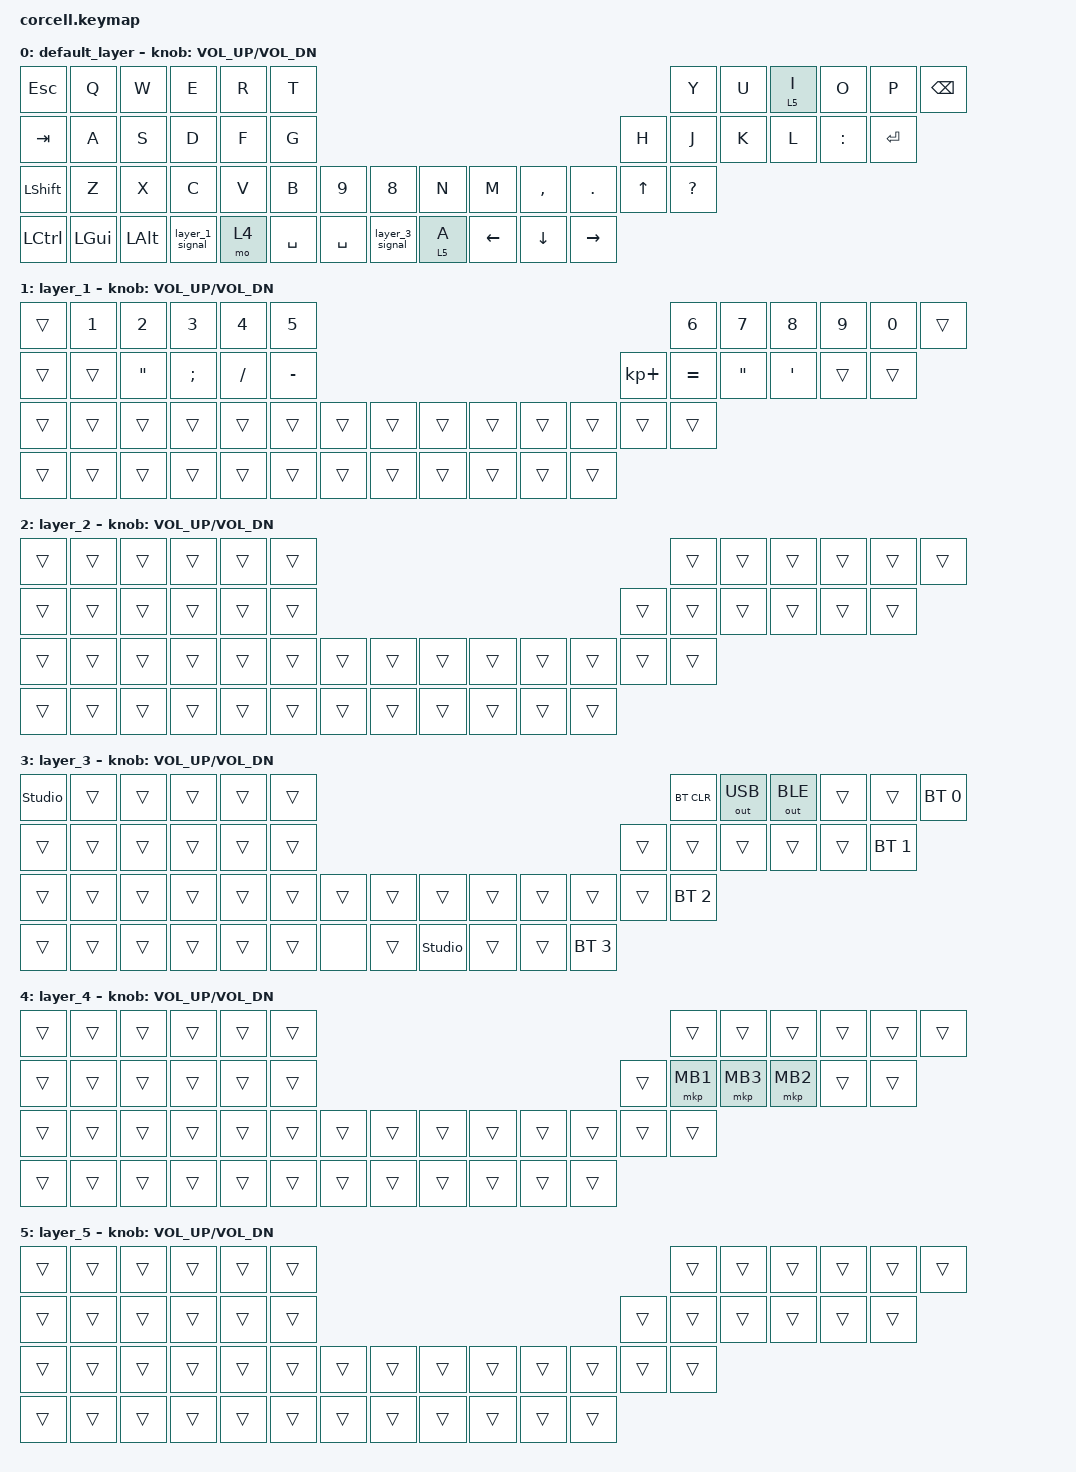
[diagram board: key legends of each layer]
#include <dt-bindings/zmk/mouse.h>
#include <behaviors.dtsi>
#include <dt-bindings/zmk/bt.h>
#include <dt-bindings/zmk/outputs.h>
#include <dt-bindings/zmk/keys.h>
#include <dt-bindings/zmk/pointing.h>
#include <behaviors/runtime-input-processor.dtsi>

/ {
    macros {
        // Keep layer activation momentary while exposing physical down/up to HID testers.
        layer_1_signal: layer_1_signal {
            compatible = "zmk,behavior-macro";
            #binding-cells = <0>;
            label = "Layer 1 + F16";
            wait-ms = <0>;
            tap-ms = <0>;
            bindings = <&macro_press &mo 1 &kp F16>,
                       <&macro_pause_for_release>,
                       <&macro_release &kp F16 &mo 1>;
        };

        // Keep layer activation momentary while exposing physical down/up to HID testers.
        layer_2_signal: layer_2_signal {
            compatible = "zmk,behavior-macro";
            #binding-cells = <0>;
            label = "Layer 2 + F17";
            wait-ms = <0>;
            tap-ms = <0>;
            bindings = <&macro_press &mo 2 &kp F17>,
                       <&macro_pause_for_release>,
                       <&macro_release &kp F17 &mo 2>;
        };

        // Keep layer activation momentary while exposing physical down/up to HID testers.
        layer_3_signal: layer_3_signal {
            compatible = "zmk,behavior-macro";
            #binding-cells = <0>;
            label = "Layer 3 + F18";
            wait-ms = <0>;
            tap-ms = <0>;
            bindings = <&macro_press &mo 3 &kp F18>,
                       <&macro_pause_for_release>,
                       <&macro_release &kp F18 &mo 3>;
        };

    };

    keymap {
        compatible = "zmk,keymap";

        default_layer {
            bindings = <
&kp ESC  &kp Q  &kp W  &kp E  &kp R  &kp T  &kp Y  &kp U  &lt 5 I  &kp O  &kp P  &kp BSPC
&kp TAB  &kp A  &kp S  &kp D  &kp F  &kp G  &kp H  &kp J  &kp K  &kp L  &kp COLON  &kp RET
&kp LSHFT  &kp Z  &kp X  &kp C  &kp V  &kp B  &kp N9  &kp N8  &kp N  &kp M  &kp COMMA  &kp DOT  &kp UP  &kp QMARK
&kp LCTRL  &kp LGUI  &kp LALT  &layer_1_signal  &mo 4  &kp SPACE  &kp SPACE  &layer_3_signal  &lt 5 A  &kp LEFT  &kp DOWN  &kp RIGHT
//&kp LCTRL  &kp LGUI  &kp LALT  &layer_1_signal  &layer_2_signal  &kp SPACE  &kp SPACE  &layer_3_signal  &lt 5 A  &kp LEFT  &kp DOWN  &kp RIGHT
            >;
            sensor-bindings = <&inc_dec_kp C_VOL_UP C_VOL_DN>;
        };

        layer_1 {
            bindings = <
&trans  &kp NUMBER_1  &kp NUMBER_2  &kp NUMBER_3  &kp NUMBER_4  &kp NUMBER_5  &kp NUMBER_6  &kp NUMBER_7  &kp N8  &kp NUMBER_9  &kp NUMBER_0  &trans
&trans  &trans  &kp DOUBLE_QUOTES  &kp SEMICOLON  &kp SLASH  &kp MINUS  &kp KP_PLUS  &kp EQUAL  &kp DOUBLE_QUOTES  &kp SQT  &trans  &trans
&trans  &trans  &trans  &trans  &trans  &trans  &trans  &trans  &trans  &trans  &trans  &trans  &trans  &trans
&trans  &trans  &trans  &trans  &trans  &trans  &trans  &trans  &trans  &trans  &trans  &trans
            >;
            sensor-bindings = <&inc_dec_kp C_VOL_UP C_VOL_DN>;
        };

        layer_2 {
            bindings = <
&trans  &trans  &trans  &trans  &trans  &trans  &trans  &trans  &trans  &trans  &trans  &trans
&trans  &trans  &trans  &trans  &trans  &trans  &trans  &trans  &trans  &trans  &trans  &trans
&trans  &trans  &trans  &trans  &trans  &trans  &trans  &trans  &trans  &trans  &trans  &trans  &trans  &trans
&trans  &trans  &trans  &trans  &trans  &trans  &trans  &trans  &trans  &trans  &trans  &trans
            >;
            sensor-bindings = <&inc_dec_kp C_VOL_UP C_VOL_DN>;
        };

        // Connection controls are reachable using only the central (right) half.
        layer_3 {
            bindings = <
&studio_unlock  &trans  &trans  &trans  &trans  &trans  &bt BT_CLR  &out OUT_USB  &out OUT_BLE  &trans  &trans  &bt BT_SEL 0
&trans  &trans  &trans  &trans  &trans  &trans  &trans  &trans  &trans  &trans  &trans  &bt BT_SEL 1
&trans  &trans  &trans  &trans  &trans  &trans  &trans  &trans  &trans  &trans  &trans  &trans  &trans  &bt BT_SEL 2
&trans  &trans  &trans  &trans  &trans  &trans  &none  &trans  &studio_unlock  &trans  &trans  &bt BT_SEL 3
            >;
            sensor-bindings = <&inc_dec_kp C_VOL_UP C_VOL_DN>;
        };

        layer_4 {
            bindings = <
&trans  &trans  &trans  &trans  &trans  &trans  &trans  &trans  &trans  &trans  &trans  &trans
&trans  &trans  &trans  &trans  &trans  &trans  &trans  &mkp MB1  &mkp MB3  &mkp MB2  &trans  &trans
&trans  &trans  &trans  &trans  &trans  &trans  &trans  &trans  &trans  &trans  &trans  &trans  &trans  &trans
&trans  &trans  &trans  &trans  &trans  &trans  &trans  &trans  &trans  &trans  &trans  &trans
            >;
            sensor-bindings = <&inc_dec_kp C_VOL_UP C_VOL_DN>;
        };

        layer_5 {
            bindings = <
&trans  &trans  &trans  &trans  &trans  &trans  &trans  &trans  &trans  &trans  &trans  &trans
&trans  &trans  &trans  &trans  &trans  &trans  &trans  &trans  &trans  &trans  &trans  &trans
&trans  &trans  &trans  &trans  &trans  &trans  &trans  &trans  &trans  &trans  &trans  &trans  &trans  &trans
&trans  &trans  &trans  &trans  &trans  &trans  &trans  &trans  &trans  &trans  &trans  &trans
            >;
            sensor-bindings = <&inc_dec_kp C_VOL_UP C_VOL_DN>;
        };
    };
};
